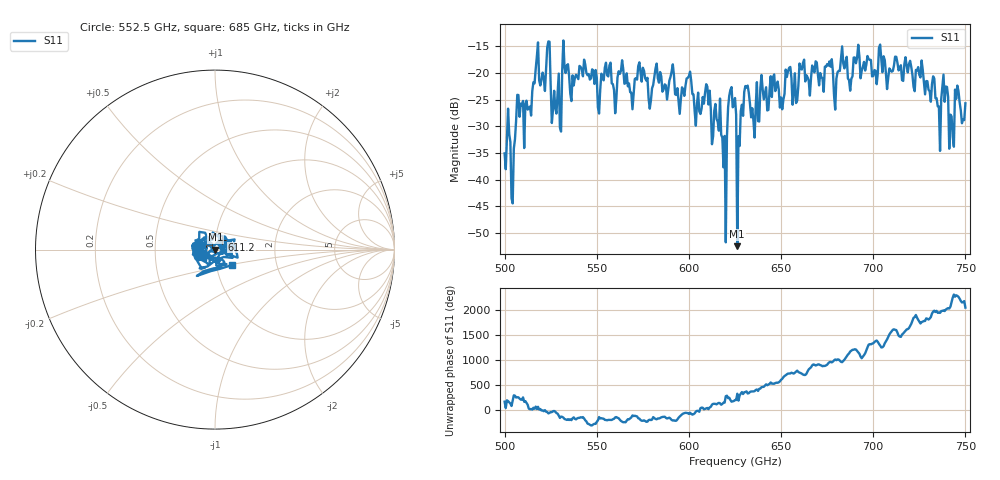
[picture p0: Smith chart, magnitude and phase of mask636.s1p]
!Created with skrf (http://scikit-rf.org).
# GHz S MA R 50.0
!freq magS11 angS11
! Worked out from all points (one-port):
!   401 points, 500 GHz to 750 GHz, reference 50 ohm
!   lowest |S11| = -52.5 dB at 626.2 GHz (marker M1), VSWR 1.00, Z = 50.2 - j0.129 ohm
!   |S11| at or under -10 dB: start of sweep to end of sweep
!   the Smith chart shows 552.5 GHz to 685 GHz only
!   S11 on the Smith chart (normalised r, x): 552.5 GHz: 0.83, -0.06; 611.2 GHz: 1.07, +0.12; 685 GHz: 1.19, -0.21
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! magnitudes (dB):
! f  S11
! 500 GHz  -35.1
! 504.4 GHz  -44.5
! 507.5 GHz  -24.1
! 511.9 GHz  -25.2
! 516.9 GHz  -19.2
! 523.8 GHz  -14.0
! 526.9 GHz  -23.3
! 531.2 GHz  -19.5
! 533.1 GHz  -20.0
! 552.5 GHz  -20.1
! 562.5 GHz  -20.2
! 593.8 GHz  -22.8
! 611.2 GHz  -23.3
! 618.8 GHz  -37.7
! 622.5 GHz  -23.2
! 625 GHz  -24.7
! 626.2 GHz  -52.5
! 631.2 GHz  -22.7
! 635 GHz  -29.0
! 656.2 GHz  -25.9
! 685 GHz  -17.8
! 687.5 GHz  -23.3
! 718.8 GHz  -19.9
! 735 GHz  -26.2
! 738.8 GHz  -25.4
! 742.5 GHz  -28.1
! 745.6 GHz  -22.4
! 750 GHz  -25.7
